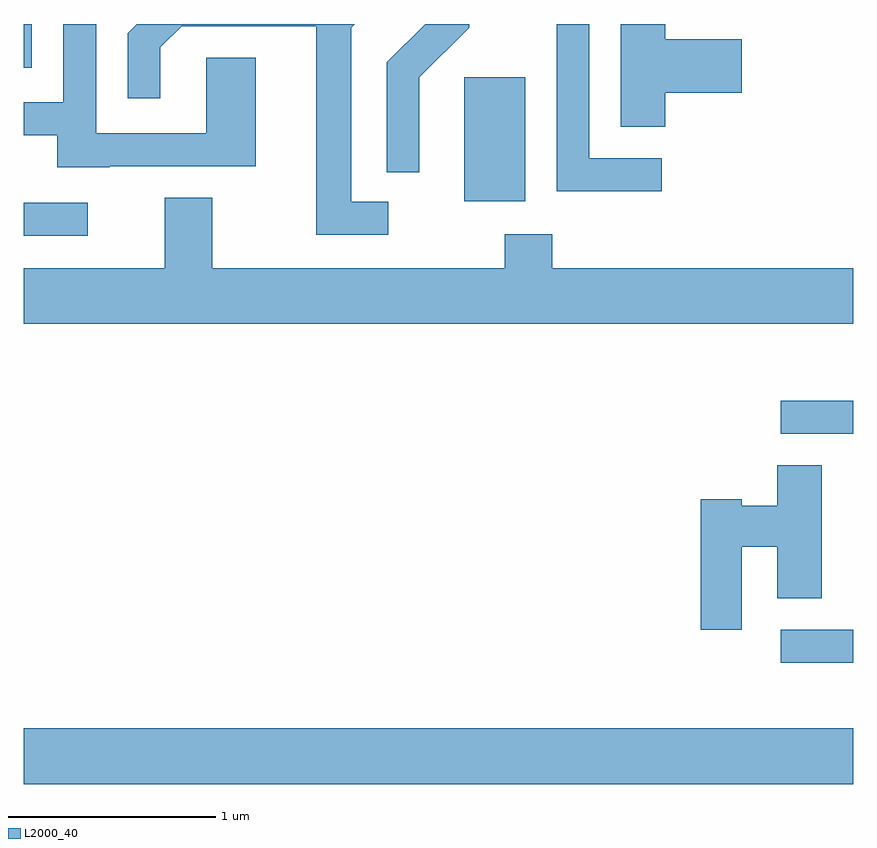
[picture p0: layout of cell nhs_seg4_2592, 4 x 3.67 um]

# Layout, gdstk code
import gdstk
lib = gdstk.Library(unit=1e-6, precision=1e-09)
def R(c, l, rs):  # rectangles x0, y0, x1, y1
    for r in rs: c.add(gdstk.rectangle(r[:2], r[2:], *l))
def P(c, l, *ps):  # polygons
    for p in ps: c.add(gdstk.Polygon(p, *l))
L2000_40 = (2000, 40)

nhs_seg4_2592 = lib.new_cell('nhs_seg4_2592')
R(nhs_seg4_2592, L2000_40, [(261.611,1270.316,265.611,1270.584), (265.263,1270.901,265.611,1271.059), (265.263,1272.006,265.611,1272.164), (261.611,1272.961,261.918,1273.119), (263.736,1273.126,264.029,1273.724), (261.611,1273.771,261.649,1273.982)])
P(nhs_seg4_2592, L2000_40, [(264.704,1273.651),(265.074,1273.651),(265.074,1273.909),(264.704,1273.909),(264.704,1273.982),(264.491,1273.982),(264.491,1273.486),(264.704,1273.486)],
  [(262.025,1273.296),(262.729,1273.296),(262.729,1273.819),(262.491,1273.819),(262.491,1273.454),(261.959,1273.454),(261.959,1273.982),(261.801,1273.982),(261.801,1273.604),(261.611,1273.604),(261.611,1273.446),(261.771,1273.446),(261.771,1273.291),(262.025,1273.291)],
  [(264.688,1273.334),(264.339,1273.334),(264.339,1273.982),(264.181,1273.982),(264.181,1273.176),(264.688,1273.176)],
  [(263.519,1273.724),(263.759,1273.964),(263.759,1273.982),(263.546,1273.982),(263.361,1273.797),(263.361,1273.268),(263.519,1273.268)],
  [(263.368,1273.124),(263.189,1273.124),(263.189,1273.964),(263.207,1273.982),(262.156,1273.982),(262.111,1273.937),(262.111,1273.623),(262.269,1273.623),(262.269,1273.869),(262.372,1273.971),(263.021,1273.971),(263.021,1272.966),(263.368,1272.966)],
  [(263.931,1272.969),(263.931,1272.804),(262.519,1272.804),(262.519,1273.144),(262.291,1273.144),(262.291,1272.804),(261.611,1272.804),(261.611,1272.536),(265.611,1272.536),(265.611,1272.804),(264.159,1272.804),(264.159,1272.969)],
  [(265.074,1271.461),(265.246,1271.461),(265.246,1271.211),(265.459,1271.211),(265.459,1271.854),(265.246,1271.854),(265.246,1271.659),(265.074,1271.659),(265.074,1271.689),(264.876,1271.689),(264.876,1271.061),(265.074,1271.061)])

lib.write_gds('nhs_seg4_2592.gds')
